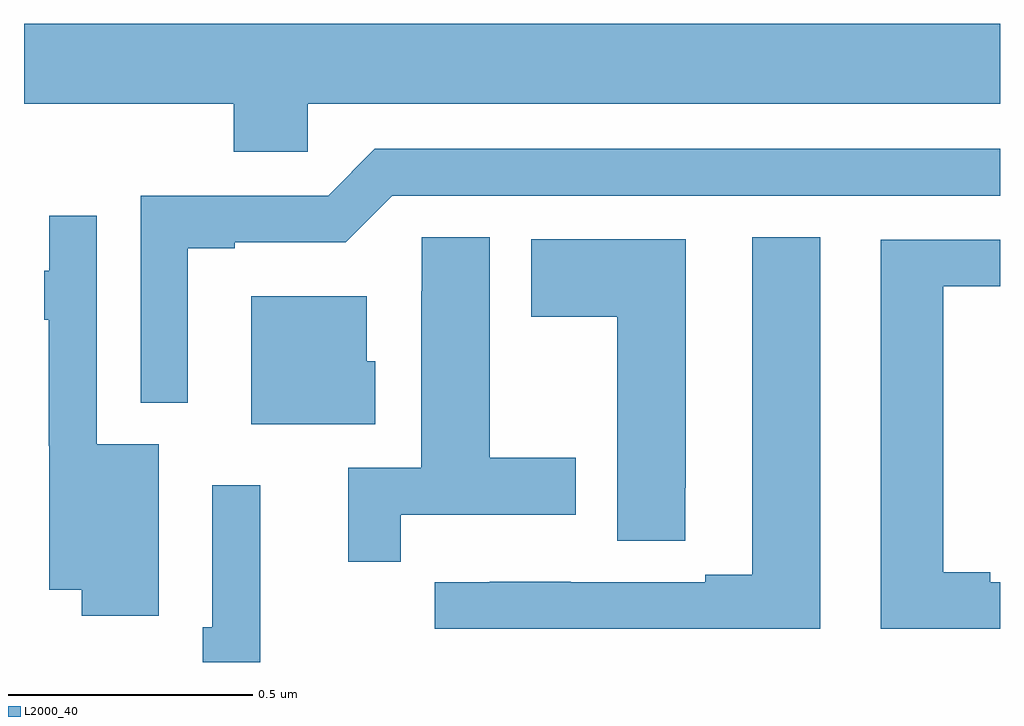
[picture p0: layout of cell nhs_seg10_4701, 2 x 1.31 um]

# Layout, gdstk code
import gdstk
lib = gdstk.Library(unit=1e-6, precision=1e-09)
def P(c, l, *ps):  # polygons
    for p in ps: c.add(gdstk.Polygon(p, *l))
L2000_40 = (2000, 40)

nhs_seg10_4701 = lib.new_cell('nhs_seg10_4701')
P(nhs_seg10_4701, L2000_40, [(169.581,1305.644),(171,1305.644),(171,1305.808),(169,1305.808),(169,1305.644),(169.43,1305.644),(169.43,1305.546),(169.581,1305.546)],
  [(169.336,1305.348),(169.432,1305.348),(169.432,1305.36),(169.659,1305.36),(169.755,1305.456),(171,1305.456),(171,1305.552),(169.719,1305.552),(169.623,1305.456),(169.239,1305.456),(169.239,1305.032),(169.336,1305.032)],
  [(169.276,1304.947),(169.149,1304.947),(169.149,1305.415),(169.052,1305.415),(169.052,1305.302),(169.041,1305.302),(169.041,1305.202),(169.051,1305.202),(169.051,1304.943),(169.052,1304.943),(169.052,1304.648),(169.118,1304.648),(169.118,1304.595),(169.276,1304.595)],
  [(170.632,1305.371),(170.492,1305.371),(170.492,1304.679),(170.396,1304.679),(170.396,1304.664),(170.12,1304.664),(170.12,1304.665),(169.954,1304.665),(169.954,1304.664),(169.842,1304.664),(169.842,1304.568),(170.632,1304.568)],
  [(169.772,1304.802),(170.131,1304.802),(170.131,1304.919),(169.954,1304.919),(169.954,1305.371),(169.815,1305.371),(169.815,1305.26),(169.814,1305.26),(169.814,1304.898),(169.664,1304.898),(169.664,1304.706),(169.772,1304.706)],
  [(170.355,1304.857),(170.356,1304.857),(170.356,1305.367),(170.039,1305.367),(170.039,1305.208),(170.216,1305.208),(170.216,1304.749),(170.355,1304.749)],
  [(171,1304.664),(170.98,1304.664),(170.98,1304.684),(170.884,1304.684),(170.884,1305.27),(171,1305.27),(171,1305.366),(170.756,1305.366),(170.756,1304.568),(171,1304.568)],
  [(169.72,1305.117),(169.702,1305.117),(169.702,1305.25),(169.466,1305.25),(169.466,1304.987),(169.72,1304.987)],
  [(169.484,1304.863),(169.386,1304.863),(169.386,1304.572),(169.366,1304.572),(169.366,1304.5),(169.484,1304.5)])

lib.write_gds('nhs_seg10_4701.gds')
